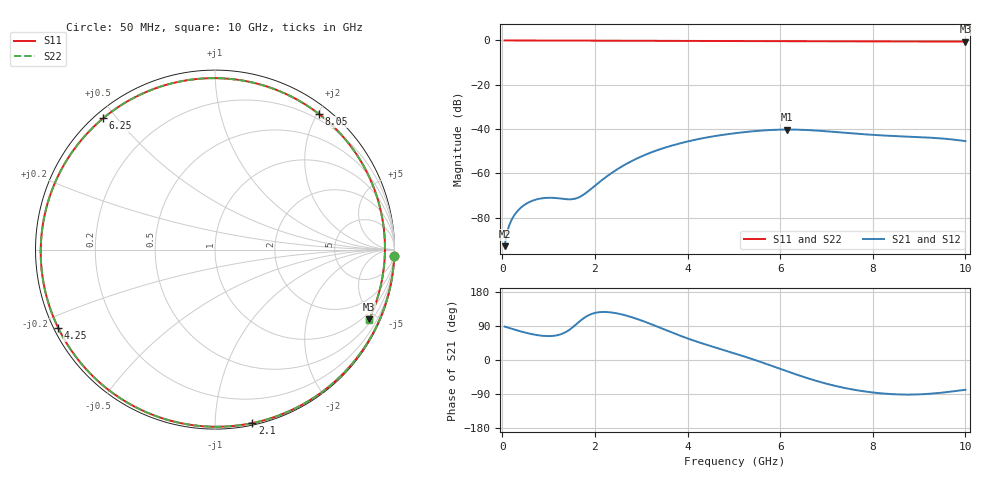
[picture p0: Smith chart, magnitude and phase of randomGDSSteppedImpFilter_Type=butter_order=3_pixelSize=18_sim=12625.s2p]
! freq	dB(S11)	phase(S11)	dB(S12)	phase(S12)
!  dB(S21)	phase(S21)	dB(S22)	phase(S22)
!S-par simulation data
#  GHz  S  DB  R 50
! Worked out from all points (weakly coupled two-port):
!   200 points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, 50 MHz to 10 GHz, reference 50 ohm
!   highest |S21| = -40.23 dB at 6.15 GHz (marker M1); lowest = -92.9 dB at 50 MHz (marker M2)
!   lowest |S11| = -0.5 dB at 10 GHz (marker M3), VSWR 34.24, Z = 32.4 - j228 ohm
!   |S11| at or under -10 dB: nowhere
!   |S22| runs from -0.5 to 0.0 dB; largest |S21 - S12| = 0
!   S11 on the Smith chart (normalised r, x): 50 MHz: 1, -60; 2.1 GHz: 0.01, -1.24; 4.25 GHz: 0.01, -0.24; 6.25 GHz: 0.02, +0.46; 8.05 GHz: 0.12, +2.02; 10 GHz: 0.65, -4.56
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0.05  -0.00 -1.9  -92.87 88.2  -92.87 88.2  -0.00 -1.9
0.2  -0.01 -7.6  -81.02 82.6  -81.02 82.6  -0.01 -7.6
0.45  -0.02 -17.1  -74.65 73.8  -74.65 73.8  -0.02 -17.1
0.7  -0.03 -26.5  -72.00 66.8  -72.00 66.8  -0.03 -26.5
1  -0.05 -37.7  -71.01 63.1  -71.01 63.1  -0.05 -37.7
1.5  -0.07 -56.1  -71.68 84.4  -71.68 84.4  -0.07 -56.1
1.75  -0.08 -65.2  -69.68 109.7  -69.68 109.7  -0.08 -65.2
2.1  -0.10 -77.8  -63.90 126.3  -63.90 126.3  -0.10 -77.8
2.7  -0.12 -99.1  -55.50 116.4  -55.50 116.4  -0.12 -99.1
3.4  -0.16 -123.5  -49.16 85.5  -49.16 85.5  -0.16 -123.6
4.25  -0.21 -153.4  -44.46 46.5  -44.46 46.5  -0.21 -153.5
5.05  -0.26 177.5  -41.81 16.1  -41.81 16.1  -0.26 177.4
5.6  -0.30 156.5  -40.68 -6.0  -40.68 -6.0  -0.30 156.4
6.15  -0.34 134.5  -40.23 -29.7  -40.23 -29.7  -0.34 134.4
6.25  -0.35 130.4  -40.23 -34.0  -40.23 -34.0  -0.35 130.2
6.7  -0.37 111.5  -40.58 -52.1  -40.58 -52.1  -0.37 111.3
7.35  -0.40 83.3  -41.60 -72.7  -41.60 -72.7  -0.40 83.1
8.05  -0.43 52.6  -42.69 -86.4  -42.69 -86.4  -0.43 52.5
8.35  -0.44 39.7  -43.04 -89.6  -43.04 -89.6  -0.44 39.5
8.75  -0.45 23.0  -43.42 -91.3  -43.42 -91.3  -0.45 22.8
9.15  -0.47 6.9  -43.79 -89.8  -43.79 -89.8  -0.47 6.8
10  -0.51 -24.3  -45.44 -78.7  -45.44 -78.7  -0.51 -24.4
